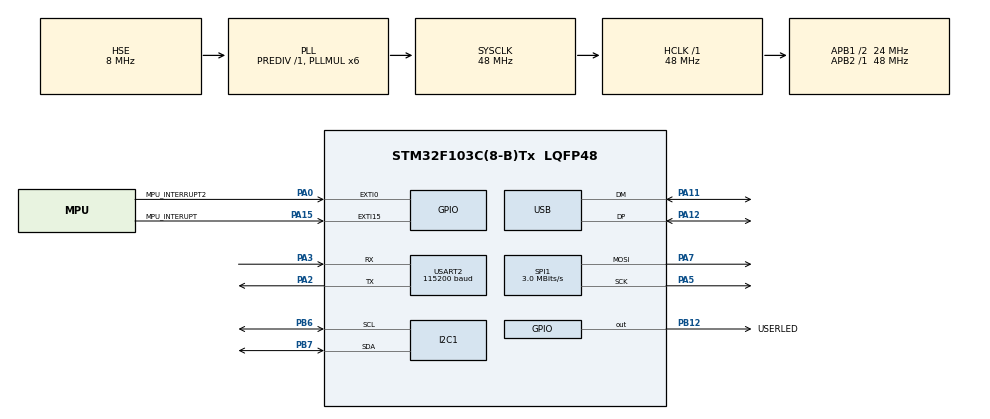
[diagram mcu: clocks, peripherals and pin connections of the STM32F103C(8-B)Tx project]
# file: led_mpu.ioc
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Dma.I2C1_RX.0.Direction=DMA_PERIPH_TO_MEMORY
Dma.I2C1_RX.0.Instance=DMA1_Channel7
Dma.I2C1_RX.0.MemDataAlignment=DMA_MDATAALIGN_BYTE
Dma.I2C1_RX.0.MemInc=DMA_MINC_ENABLE
Dma.I2C1_RX.0.Mode=DMA_CIRCULAR
Dma.I2C1_RX.0.PeriphDataAlignment=DMA_PDATAALIGN_BYTE
Dma.I2C1_RX.0.PeriphInc=DMA_PINC_DISABLE
Dma.I2C1_RX.0.Priority=DMA_PRIORITY_MEDIUM
Dma.MEMTOMEM.1.Direction=DMA_MEMORY_TO_MEMORY
Dma.MEMTOMEM.1.Instance=DMA1_Channel1
Dma.MEMTOMEM.1.MemDataAlignment=DMA_MDATAALIGN_BYTE
Dma.MEMTOMEM.1.MemInc=DMA_MINC_ENABLE
Dma.MEMTOMEM.1.Mode=DMA_NORMAL
Dma.MEMTOMEM.1.PeriphDataAlignment=DMA_PDATAALIGN_BYTE
Dma.MEMTOMEM.1.PeriphInc=DMA_PINC_ENABLE
Dma.MEMTOMEM.1.Priority=DMA_PRIORITY_LOW
Dma.Request0=I2C1_RX
Dma.Request1=MEMTOMEM
Dma.Request2=SPI1_TX
Dma.SPI1_TX.2.Direction=DMA_MEMORY_TO_PERIPH
Dma.SPI1_TX.2.Instance=DMA1_Channel3
Dma.SPI1_TX.2.MemDataAlignment=DMA_MDATAALIGN_BYTE
Dma.SPI1_TX.2.MemInc=DMA_MINC_ENABLE
Dma.SPI1_TX.2.Mode=DMA_NORMAL
Dma.SPI1_TX.2.PeriphDataAlignment=DMA_PDATAALIGN_BYTE
Dma.SPI1_TX.2.PeriphInc=DMA_PINC_DISABLE
Dma.SPI1_TX.2.Priority=DMA_PRIORITY_HIGH
FREERTOS.Queues01=dataBleQueue,8,dmp_data,0,Dynamic,NULL,NULL
FREERTOS.Tasks01=defaultTask,0,128,StartDefaultTask,Default,NULL,Dynamic,NULL,NULL;blinkTask,0,256,StartTaskBlink,Default,NULL,Dynamic,NULL,NULL;BLETask,-1,128,StartTaskBLE,Default,NULL,Dynamic,NULL,NULL
FREERTOS.configTOTAL_HEAP_SIZE=8192
I2C1.I2C_Mode=I2C_Standard
Mcu.Family=STM32F1
Mcu.Name=STM32F103C(8-B)Tx
Mcu.Package=LQFP48
NVIC.DMA1_Channel1_IRQn=true\:7\:0\:true\:false\:true\:true\:true
NVIC.DMA1_Channel3_IRQn=true\:5\:0\:false\:false\:true\:true\:false
NVIC.DMA1_Channel7_IRQn=true\:5\:0\:true\:false\:true\:true\:false
NVIC.EXTI0_IRQn=true\:5\:0\:false\:false\:true\:true\:true
NVIC.EXTI15_10_IRQn=true\:10\:0\:true\:false\:true\:true\:true
NVIC.PriorityGroup=NVIC_PRIORITYGROUP_4
NVIC.TIM4_IRQn=true\:0\:0\:false\:false\:true\:false\:false
NVIC.TimeBase=TIM4_IRQn
NVIC.TimeBaseIP=TIM4
NVIC.USART2_IRQn=true\:5\:0\:false\:false\:true\:true\:true
NVIC.USB_LP_CAN1_RX0_IRQn=true\:5\:0\:false\:false\:true\:true\:false
PA0-WKUP.GPIO_Label=MPU_INTERRUPT2
PA0-WKUP.Signal=GPXTI0
PA11.Mode=Device
PA11.Signal=USB_DM
PA12.Mode=Device
PA12.Signal=USB_DP
PA13.Mode=Serial_Wire
PA13.Signal=SYS_JTMS-SWDIO
PA14.Mode=Serial_Wire
PA14.Signal=SYS_JTCK-SWCLK
PA15.GPIO_Label=MPU_INTERUPT
PA15.Signal=GPXTI15
PA2.Mode=Asynchronous
PA2.Signal=USART2_TX
PA3.Mode=Asynchronous
PA3.Signal=USART2_RX
PA5.Mode=TX_Only_Simplex_Unidirect_Master
PA5.Signal=SPI1_SCK
PA7.Mode=TX_Only_Simplex_Unidirect_Master
PA7.Signal=SPI1_MOSI
PB12.GPIO_Label=USERLED
PB12.GPIO_PuPd=GPIO_NOPULL
PB12.GPIO_Speed=GPIO_SPEED_FREQ_MEDIUM
PB12.PinState=GPIO_PIN_SET
PB12.Signal=GPIO_Output
PB6.Mode=I2C
PB6.Signal=I2C1_SCL
PB7.Mode=I2C
PB7.Signal=I2C1_SDA
PC14-OSC32_IN.Mode=LSE-External-Oscillator
PC14-OSC32_IN.Signal=RCC_OSC32_IN
PC15-OSC32_OUT.Mode=LSE-External-Oscillator
PC15-OSC32_OUT.Signal=RCC_OSC32_OUT
PD0-OSC_IN.Mode=HSE-External-Oscillator
PD0-OSC_IN.Signal=RCC_OSC_IN
PD1-OSC_OUT.Mode=HSE-External-Oscillator
PD1-OSC_OUT.Signal=RCC_OSC_OUT
ProjectManager.HeapSize=0x200
ProjectManager.StackSize=0x400
ProjectManager.TargetToolchain=SW4STM32
RCC.AHBFreq_Value=48000000
RCC.APB1CLKDivider=RCC_HCLK_DIV2
RCC.APB1Freq_Value=24000000
RCC.APB1TimFreq_Value=48000000
RCC.APB2Freq_Value=48000000
RCC.APB2TimFreq_Value=48000000
RCC.HCLKFreq_Value=48000000
RCC.PLLMUL=RCC_PLL_MUL6
RCC.PLLSourceVirtual=RCC_PLLSOURCE_HSE
RCC.SYSCLKFreq_VALUE=48000000
RCC.SYSCLKSource=RCC_SYSCLKSOURCE_PLLCLK
RCC.USBFreq_Value=48000000
SPI1.BaudRatePrescaler=SPI_BAUDRATEPRESCALER_16
SPI1.CalculateBaudRate=3.0 MBits/s
SPI1.Direction=SPI_DIRECTION_2LINES
SPI1.Mode=SPI_MODE_MASTER
SPI1.VirtualType=VM_MASTER
USART2.BaudRate=115200
USART2.VirtualMode=VM_ASYNC
USB.ep0_mps=DEP0CTL_MPS_32
USB_DEVICE.CLASS_NAME_FS=CDC
USB_DEVICE.VirtualMode=Cdc
USB_DEVICE.VirtualModeFS=Cdc_FS
VP_FREERTOS_VS_ENABLE.Mode=Enabled
VP_SYS_VS_tim4.Mode=TIM4
VP_USB_DEVICE_VS_USB_DEVICE_CDC_FS.Mode=CDC_FS
board=custom

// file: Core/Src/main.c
/* USER CODE BEGIN Header */
/**
  * @brief  Function implementing the defaultTask thread.
  * @param  argument: Not used
  * @retval None
  */
/* USER CODE END Header */

#include "main.h"
#include "cmsis_os.h"
#include "usb_device.h"

/* USER CODE BEGIN Includes */
#include <limits.h>
#include "ws2812spi.h"
#include "mpu6050.h"
#include "dmptask.h"
#include "ble_if.h"

//#define _DEBUG 1
#ifdef _DEBUG
#pragma message  "DEBUG CONSOLE ACTIVATED"
#endif

/* USER CODE END Includes */

I2C_HandleTypeDef hi2c1;
DMA_HandleTypeDef hdma_i2c1_rx;

SPI_HandleTypeDef hspi1;
DMA_HandleTypeDef hdma_spi1_tx;

UART_HandleTypeDef huart2;

DMA_HandleTypeDef hdma_memtomem_dma1_channel1;
osThreadId defaultTaskHandle;
osThreadId blinkTaskHandle;
osThreadId BLETaskHandle;
osMessageQId dataBleQueueHandle;
/* USER CODE BEGIN PV */
/* Private variables ---------------------------------------------------------*/

/* USER CODE END PV */

void SystemClock_Config(void);
static void MX_GPIO_Init(void);
static void MX_DMA_Init(void);
static void MX_I2C1_Init(void);
static void MX_SPI1_Init(void);
static void MX_USART2_UART_Init(void);
void StartDefaultTask(void const * argument);
void StartTaskBlink(void const * argument);
void StartTaskBLE(void const * argument);

/* USER CODE BEGIN PFP */
/* Private function prototypes -----------------------------------------------*/

/* USER CODE END PFP */

/* USER CODE BEGIN 0 */
void initialise_monitor_handles (void);
/* USER CODE END 0 */

int main(void)
{
  /* USER CODE BEGIN 1 */
#ifdef _DEBUG
	initialise_monitor_handles ();
#endif
  /* USER CODE END 1 */

  /* MCU Configuration--------------------------------------------------------*/

  /* Reset of all peripherals, Initializes the Flash interface and the Systick. */
  HAL_Init();

  /* Configure the system clock */
  SystemClock_Config();

  /* Initialize all configured peripherals */
  MX_GPIO_Init();
  MX_DMA_Init();
  MX_I2C1_Init();
  MX_SPI1_Init();
  MX_USART2_UART_Init();
  /* USER CODE BEGIN 2 */
	#ifdef _DEBUG
  	  printf("Starting:\r\n");
	#endif

  /* USER CODE END 2 */

  /* Create the thread(s) */
  /* definition and creation of defaultTask */
  osThreadDef(defaultTask, StartDefaultTask, osPriorityNormal, 0, 128);
  defaultTaskHandle = osThreadCreate(osThread(defaultTask), NULL);

  /* definition and creation of blinkTask */
  osThreadDef(blinkTask, StartTaskBlink, osPriorityNormal, 0, 256);
  blinkTaskHandle = osThreadCreate(osThread(blinkTask), NULL);

  /* definition and creation of BLETask */
  osThreadDef(BLETask, StartTaskBLE, osPriorityBelowNormal, 0, 128);
  BLETaskHandle = osThreadCreate(osThread(BLETask), NULL);

  /* Create the queue(s) */
  /* definition and creation of dataBleQueue */
  osMessageQDef(dataBleQueue, 8, dmp_data);
  dataBleQueueHandle = osMessageCreate(osMessageQ(dataBleQueue), NULL);

  /* USER CODE BEGIN RTOS_QUEUES */
  /* add queues, ... */
#ifdef _DEBUG
			printf ("ble queue: %d\r\n", uxQueueSpacesAvailable( dataBleQueueHandle ));
#endif

  /* USER CODE END RTOS_QUEUES */

  /* Start scheduler */
  osKernelStart();

  /* We should never get here as control is now taken by the scheduler */

  /* Infinite loop */
  while (1)
  {

  }
}

void SystemClock_Config(void)
{
  RCC_OscInitTypeDef RCC_OscInitStruct = {0};
  RCC_ClkInitTypeDef RCC_ClkInitStruct = {0};
  RCC_PeriphCLKInitTypeDef PeriphClkInit = {0};

  /**Initializes the CPU, AHB and APB busses clocks
  */
  RCC_OscInitStruct.OscillatorType = RCC_OSCILLATORTYPE_HSE;
  RCC_OscInitStruct.HSEState = RCC_HSE_ON;
  RCC_OscInitStruct.HSEPredivValue = RCC_HSE_PREDIV_DIV1;
  RCC_OscInitStruct.HSIState = RCC_HSI_ON;
  RCC_OscInitStruct.PLL.PLLState = RCC_PLL_ON;
  RCC_OscInitStruct.PLL.PLLSource = RCC_PLLSOURCE_HSE;
  RCC_OscInitStruct.PLL.PLLMUL = RCC_PLL_MUL6;
  if (HAL_RCC_OscConfig(&RCC_OscInitStruct) != HAL_OK)
  {
    Error_Handler();
  }
  /**Initializes the CPU, AHB and APB busses clocks
  */
  RCC_ClkInitStruct.ClockType = RCC_CLOCKTYPE_HCLK|RCC_CLOCKTYPE_SYSCLK
                              |RCC_CLOCKTYPE_PCLK1|RCC_CLOCKTYPE_PCLK2;
  RCC_ClkInitStruct.SYSCLKSource = RCC_SYSCLKSOURCE_PLLCLK;
  RCC_ClkInitStruct.AHBCLKDivider = RCC_SYSCLK_DIV1;
  RCC_ClkInitStruct.APB1CLKDivider = RCC_HCLK_DIV2;
  RCC_ClkInitStruct.APB2CLKDivider = RCC_HCLK_DIV1;

  if (HAL_RCC_ClockConfig(&RCC_ClkInitStruct, FLASH_LATENCY_1) != HAL_OK)
  {
    Error_Handler();
  }
  PeriphClkInit.PeriphClockSelection = RCC_PERIPHCLK_USB;
  PeriphClkInit.UsbClockSelection = RCC_USBCLKSOURCE_PLL;
  if (HAL_RCCEx_PeriphCLKConfig(&PeriphClkInit) != HAL_OK)
  {
    Error_Handler();
  }
}

static void MX_I2C1_Init(void)
{

  hi2c1.Instance = I2C1;
  hi2c1.Init.ClockSpeed = 100000;
  hi2c1.Init.DutyCycle = I2C_DUTYCYCLE_2;
  hi2c1.Init.OwnAddress1 = 0;
  hi2c1.Init.AddressingMode = I2C_ADDRESSINGMODE_7BIT;
  hi2c1.Init.DualAddressMode = I2C_DUALADDRESS_DISABLE;
  hi2c1.Init.OwnAddress2 = 0;
  hi2c1.Init.GeneralCallMode = I2C_GENERALCALL_DISABLE;
  hi2c1.Init.NoStretchMode = I2C_NOSTRETCH_DISABLE;
  if (HAL_I2C_Init(&hi2c1) != HAL_OK)
  {
    Error_Handler();
  }

}

static void MX_SPI1_Init(void)
{

  /* SPI1 parameter configuration*/
  hspi1.Instance = SPI1;
  hspi1.Init.Mode = SPI_MODE_MASTER;
  hspi1.Init.Direction = SPI_DIRECTION_2LINES;
  hspi1.Init.DataSize = SPI_DATASIZE_8BIT;
  hspi1.Init.CLKPolarity = SPI_POLARITY_LOW;
  hspi1.Init.CLKPhase = SPI_PHASE_1EDGE;
  hspi1.Init.NSS = SPI_NSS_SOFT;
  hspi1.Init.BaudRatePrescaler = SPI_BAUDRATEPRESCALER_16;
  hspi1.Init.FirstBit = SPI_FIRSTBIT_MSB;
  hspi1.Init.TIMode = SPI_TIMODE_DISABLE;
  hspi1.Init.CRCCalculation = SPI_CRCCALCULATION_DISABLE;
  hspi1.Init.CRCPolynomial = 10;
  if (HAL_SPI_Init(&hspi1) != HAL_OK)
  {
    Error_Handler();
  }

}

static void MX_USART2_UART_Init(void)
{

  huart2.Instance = USART2;
  huart2.Init.BaudRate = 115200;
  huart2.Init.WordLength = UART_WORDLENGTH_8B;
  huart2.Init.StopBits = UART_STOPBITS_1;
  huart2.Init.Parity = UART_PARITY_NONE;
  huart2.Init.Mode = UART_MODE_TX_RX;
  huart2.Init.HwFlowCtl = UART_HWCONTROL_NONE;
  huart2.Init.OverSampling = UART_OVERSAMPLING_16;
  if (HAL_UART_Init(&huart2) != HAL_OK)
  {
    Error_Handler();
  }

}

static void MX_DMA_Init(void)
{
  /* DMA controller clock enable */
  __HAL_RCC_DMA1_CLK_ENABLE();

  /* Configure DMA request hdma_memtomem_dma1_channel1 on DMA1_Channel1 */
  hdma_memtomem_dma1_channel1.Instance = DMA1_Channel1;
  hdma_memtomem_dma1_channel1.Init.Direction = DMA_MEMORY_TO_MEMORY;
  hdma_memtomem_dma1_channel1.Init.PeriphInc = DMA_PINC_ENABLE;
  hdma_memtomem_dma1_channel1.Init.MemInc = DMA_MINC_ENABLE;
  hdma_memtomem_dma1_channel1.Init.PeriphDataAlignment = DMA_PDATAALIGN_BYTE;
  hdma_memtomem_dma1_channel1.Init.MemDataAlignment = DMA_MDATAALIGN_BYTE;
  hdma_memtomem_dma1_channel1.Init.Mode = DMA_NORMAL;
  hdma_memtomem_dma1_channel1.Init.Priority = DMA_PRIORITY_LOW;
  if (HAL_DMA_Init(&hdma_memtomem_dma1_channel1) != HAL_OK)
  {
    Error_Handler( );
  }

  /* DMA interrupt init */
  /* DMA1_Channel1_IRQn interrupt configuration */
  HAL_NVIC_SetPriority(DMA1_Channel1_IRQn, 7, 0);
  HAL_NVIC_EnableIRQ(DMA1_Channel1_IRQn);
  /* DMA1_Channel3_IRQn interrupt configuration */
  HAL_NVIC_SetPriority(DMA1_Channel3_IRQn, 5, 0);
  HAL_NVIC_EnableIRQ(DMA1_Channel3_IRQn);
  /* DMA1_Channel7_IRQn interrupt configuration */
  HAL_NVIC_SetPriority(DMA1_Channel7_IRQn, 5, 0);
  HAL_NVIC_EnableIRQ(DMA1_Channel7_IRQn);

}

static void MX_GPIO_Init(void)
{
  GPIO_InitTypeDef GPIO_InitStruct = {0};

  /* GPIO Ports Clock Enable */
  __HAL_RCC_GPIOC_CLK_ENABLE();
  __HAL_RCC_GPIOD_CLK_ENABLE();
  __HAL_RCC_GPIOA_CLK_ENABLE();
  __HAL_RCC_GPIOB_CLK_ENABLE();

  /*Configure GPIO pin Output Level */
  HAL_GPIO_WritePin(USERLED_GPIO_Port, USERLED_Pin, GPIO_PIN_SET);

  /*Configure GPIO pins : MPU_INTERRUPT2_Pin MPU_INTERUPT_Pin */
  GPIO_InitStruct.Pin = MPU_INTERRUPT2_Pin|MPU_INTERUPT_Pin;
  GPIO_InitStruct.Mode = GPIO_MODE_IT_RISING;
  GPIO_InitStruct.Pull = GPIO_NOPULL;
  HAL_GPIO_Init(GPIOA, &GPIO_InitStruct);

  /*Configure GPIO pin : USERLED_Pin */
  GPIO_InitStruct.Pin = USERLED_Pin;
  GPIO_InitStruct.Mode = GPIO_MODE_OUTPUT_PP;
  GPIO_InitStruct.Pull = GPIO_NOPULL;
  GPIO_InitStruct.Speed = GPIO_SPEED_FREQ_MEDIUM;
  HAL_GPIO_Init(USERLED_GPIO_Port, &GPIO_InitStruct);

  /* EXTI interrupt init*/
  HAL_NVIC_SetPriority(EXTI0_IRQn, 5, 0);
  //HAL_NVIC_EnableIRQ(EXTI0_IRQn);

  HAL_NVIC_SetPriority(EXTI15_10_IRQn, 10, 0);
  //HAL_NVIC_EnableIRQ(EXTI15_10_IRQn);

}

/* USER CODE BEGIN 4 */
#if 0
static SD_MPU6050 mpu1;
static SD_MPU6050_Interrupt mpu1_interrupt;
#endif

int period = 2000 ;
uint16_t it_cnt;
uint32_t it_ticks = 0;
uint16_t it_freq = 0;
uint16_t last_fs = 0;
static uint8_t transfert_pending = 0;

uint8_t fifo_buffer[1024];
void HAL_I2C_MemRxCpltCallback(I2C_HandleTypeDef *hi2c)
{
	//HAL_GPIO_TogglePin(USERLED_GPIO_Port,USERLED_Pin);

	// read interrupt status
	BaseType_t xHigherPriorityTaskWoken = pdFALSE;
			uint32_t ulStatusRegister = 0;

	transfert_pending = 0;
	xTaskNotifyFromISR( blinkTaskHandle,
			                ulStatusRegister,
			                        eSetBits,
			                        &xHigherPriorityTaskWoken );

}
/**
  * @brief  EXTI line detection callbacks.
  * @param  GPIO_Pin: Specifies the pins connected EXTI line
  * @retval None
  */
void HAL_GPIO_EXTI_Callback(uint16_t GPIO_Pin)
{
 	if (GPIO_Pin == MPU_INTERUPT_Pin || GPIO_Pin == MPU_INTERRUPT2_Pin)
	{

		//HAL_GPIO_WritePin(USERLED_GPIO_Port, USERLED_Pin, GPIO_PIN_RESET);
		//HAL_GPIO_TogglePin(USERLED_GPIO_Port,USERLED_Pin);
		//
		//if (mpu1.Accelerometer_X < 0)
		//	HAL_GPIO_WritePin(USERLED_GPIO_Port, USERLED_Pin, GPIO_PIN_RESET);
		//else
		//	HAL_GPIO_WritePin(USERLED_GPIO_Port, USERLED_Pin, GPIO_PIN_SET);

		// read fifo size
		int fs = mpu_get_fifo_size ();
		if (fs < 0)
			return;
		last_fs = fs;
		// start read fifo packet buffer
		if (fs > 512)
		{
			//HAL_GPIO_TogglePin(USERLED_GPIO_Port, USERLED_Pin);
			mpu_reset_fifo();
			return;
		}

		if (dmp_get_fifo_packet_length () <= fs && transfert_pending == 0)
		{
			uint16_t size = dmp_get_fifo_packet_length () * (fs / dmp_get_fifo_packet_length ());
			transfert_pending = 1;
			HAL_I2C_Mem_Read_DMA (&hi2c1, mpu_get_i2c_addr () << 1, mpu_get_fifo_addr (), I2C_MEMADD_SIZE_8BIT, fifo_buffer, size);
		}

		// compute acquisition frequency
		it_cnt++;
		if (it_cnt > 65000)
		{
			it_cnt = 1;
			it_ticks = HAL_GetTick ();
		}
		else if (it_ticks +1000 < HAL_GetTick())
		{
						it_freq = it_cnt * 1000 / (HAL_GetTick () - it_ticks);
						//it_cnt = 0;
						if (it_ticks == 0)
							it_ticks = HAL_GetTick ();
		}

	}
}

void BlinkError ()
{
	for (;;) {
		for (int t = 0; t < 4; t++) {
			HAL_GPIO_TogglePin(USERLED_GPIO_Port, USERLED_Pin);
			osDelay(100);
		}
		osDelay(500);
	}
}

extern short gyro[3], accel[3], sensors;
/* USER CODE END 4 */

void StartDefaultTask(void const * argument)
{
  /* init code for USB_DEVICE */
  MX_USB_DEVICE_Init();

  /* USER CODE BEGIN 5 */
  if (WS2312BSPI_Init (&hspi1, &hdma_spi1_tx, NB_PIXEL) == -1)
  	   {
  	 	#ifdef _DEBUG
  	 	  printf("WS2312BSPI_Init error:\r\n");
  	 	#endif
  	 	  BlinkError ();
  	   }

  /* Infinite loop */
  for(;;)
  {
	  HAL_GPIO_TogglePin(USERLED_GPIO_Port, USERLED_Pin);
	  int dir;

	  for (int i = 0; i < NB_PIXEL; i++)
	  	  {
	  	  		  WS2812BSPI_encode_pixel_index(32, 32, 32 , i);
	  	  }
	  	  dir = 0;
	  #if 0
	  	  if (buffer[0].ay > 2000)
	  	  {
	  		  for (int i = 0; i < NB_PIXEL / 2; i++)
	  		  	  {
	  		  	  		  WS2812BSPI_encode_pixel_index(64,16,0, i);
	  		  	  }
	  		  dir = +1;
	  	  }
	  	  else if (buffer[0].ay > 1000)
	  	  {
	  	  		  for (int i = 0; i < NB_PIXEL / 4; i++)
	  	  		  	  {
	  	  		  	  		  WS2812BSPI_encode_pixel_index (64,16,0, i);
	  	  		  	  }

	  	  }
	  	  else if (buffer[0].ay < -2000)
	  	  {
	  		  for (int i = NB_PIXEL / 2; i < NB_PIXEL ; i++)
	  		  		  	  {
	  		  		  	  		  WS2812BSPI_encode_pixel_index (64,16,0, i);
	  		  		  	  }
	  		  dir = -1;
	  	  }
	  	  else if (buffer[0].ay < -1000)
	  	  {
	  		  for (int i = NB_PIXEL - NB_PIXEL / 4; i < NB_PIXEL ; i++)
	  		  		  	  {
	  		  		  	  		  WS2812BSPI_encode_pixel_index (64,16,0, i);
	  		  		  	  }

	  	  }
#endif
	  	/*
	  	  if (buffer[0].az >= 0)
	  		  p = NB_PIXEL - 1 - (buffer[0].az * NB_PIXEL / 18240);
	  	  else
	  		  p = NB_PIXEL - 1;
		*/
#if 0
	  	  int p;
	  	if (accel[2] >= 0)
	  		  		  p = NB_PIXEL - 1 - ((accel[2] -10000) * NB_PIXEL / 8000);
	  		  	  else
	  		  		  p = NB_PIXEL - 1;
	  	  if (p >= NB_PIXEL)
	  		  p = NB_PIXEL -1;
	  	  else if (p < 0)
	  		  p = 0;
	  	  for (int i = 0; i <= p; i++)
	  		  WS2812BSPI_encode_pixel_index (accel[0] == 0 ? 0 : 64,accel[0] == 0 ? 64 : 0,0, i);
#endif
	  	if (accel[2] > 0)
	  	{
	  	  for (int i = 0; i < NB_PIXEL; i++)
	  		  	  {
	  		  	  		  WS2812BSPI_encode_pixel_index(32, 0, 0 , i);
	  		  	  }
	  	}
	  	else
	  	{
	  		for (int i = 0; i < NB_PIXEL; i++)
	  			  		  	  {
	  			  		  	  		  WS2812BSPI_encode_pixel_index(0, 0, 32 , i);
	  			  		  	  }
	  	}
#if 0
	#ifdef _DEBUG
	  	  printf ("%d\n", p);
	#endif
#endif
	  	WS2812BSPI_SendData();
	  osDelay(5);
  }
  /* USER CODE END 5 */
}

void StartTaskBlink(void const * argument)
{
  /* USER CODE BEGIN StartTaskBlink */
	dmptask (argument);

  /* USER CODE END StartTaskBlink */
}

void StartTaskBLE(void const * argument)
{
  /* USER CODE BEGIN StartTaskBLE */
  /* Infinite loop */
  for(;;)
  {
	 bleTask ();
  }
  /* USER CODE END StartTaskBLE */
}

void HAL_TIM_PeriodElapsedCallback(TIM_HandleTypeDef *htim)
{
  if (htim->Instance == TIM4) {
    HAL_IncTick();
  }
}

void Error_Handler(void)
{
  while(1)
  {
  }
}

/************************ (C) COPYRIGHT STMicroelectronics *****END OF FILE****/
